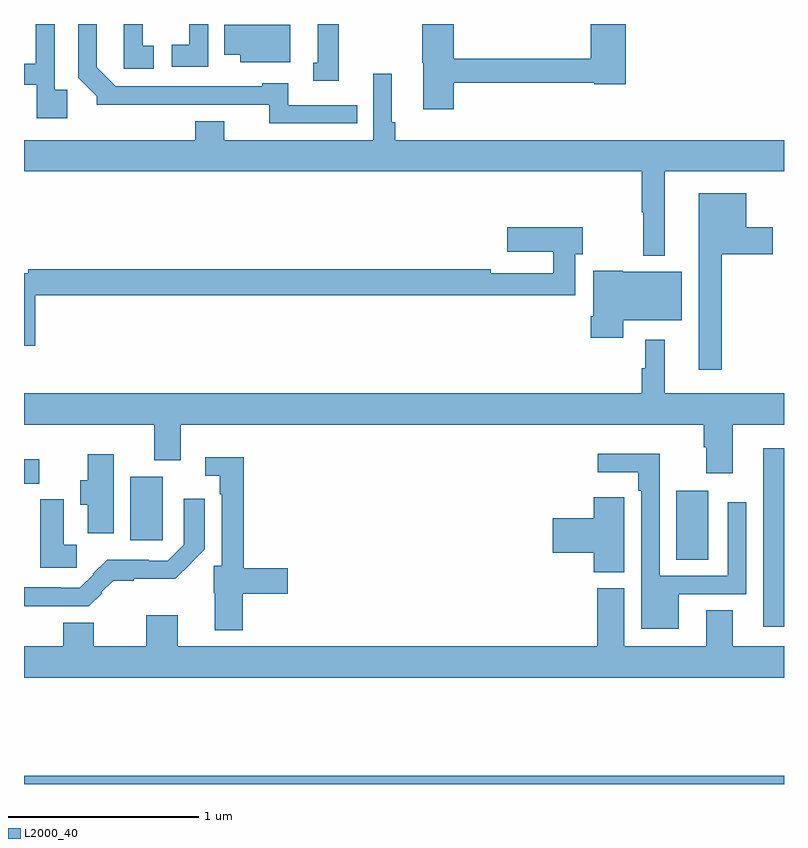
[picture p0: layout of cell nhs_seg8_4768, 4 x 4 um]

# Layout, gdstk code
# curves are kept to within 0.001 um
import gdstk
lib = gdstk.Library(unit=1e-6, precision=1e-09)
def R(c, l, rs):  # rectangles x0, y0, x1, y1
    for r in rs: c.add(gdstk.rectangle(r[:2], r[2:], *l))
def P(c, l, *ps):  # polygons
    for p in ps: c.add(gdstk.Polygon(p, *l))
L2000_40 = (2000, 40)

nhs_seg8_4768 = lib.new_cell('nhs_seg8_4768')
R(nhs_seg8_4768, L2000_40, [(399,1155.9,403,1155.944), (402.89,1156.728,403,1157.668), (402.434,1157.08,402.601,1157.443), (399.56,1157.184,399.73,1157.518), (399,1157.48,399.08,1157.608)])
P(nhs_seg8_4768, L2000_40, [(399.227,1159.555),(399.162,1159.555),(399.162,1159.9),(399.061,1159.9),(399.061,1159.69),(399,1159.69),(399,1159.581),(399.066,1159.581),(399.066,1159.404),(399.227,1159.404)],
  [(400.657,1159.9),(400.547,1159.9),(400.547,1159.695),(400.523,1159.695),(400.523,1159.601),(400.657,1159.601)],
  [(399.969,1159.9),(399.871,1159.9),(399.871,1159.79),(399.777,1159.79),(399.777,1159.674),(399.969,1159.674)],
  [(401.261,1159.59),(402,1159.59),(402,1159.582),(402.167,1159.582),(402.167,1159.9),(401.984,1159.9),(401.984,1159.718),(401.261,1159.718),(401.261,1159.9),(401.095,1159.9),(401.095,1159.695),(401.102,1159.695),(401.102,1159.452),(401.261,1159.452)],
  [(399.682,1159.785),(399.624,1159.785),(399.624,1159.9),(399.524,1159.9),(399.524,1159.665),(399.682,1159.665)],
  [(400.754,1159.473),(400.39,1159.473),(400.39,1159.588),(400.254,1159.588),(400.254,1159.572),(399.483,1159.572),(399.382,1159.673),(399.382,1159.9),(399.285,1159.9),(399.285,1159.618),(399.384,1159.519),(399.384,1159.475),(400.291,1159.476),(400.291,1159.377),(400.754,1159.377)],
  [(400.402,1159.897),(400.054,1159.897),(400.054,1159.739),(400.139,1159.739),(400.139,1159.7),(400.402,1159.7)],
  [(402.373,1159.124),(403,1159.124),(403,1159.288),(400.955,1159.288),(400.955,1159.384),(400.936,1159.384),(400.936,1159.639),(400.839,1159.639),(400.839,1159.288),(400.054,1159.288),(400.054,1159.387),(399.902,1159.387),(399.902,1159.288),(399,1159.288),(399,1159.124),(402.252,1159.124),(402.252,1158.908),(402.259,1158.908),(402.259,1158.68),(402.373,1158.68)],
  [(402.673,1158.689),(402.94,1158.689),(402.94,1158.831),(402.802,1158.831),(402.802,1159.009),(402.551,1159.009),(402.551,1158.081),(402.673,1158.081)],
  [(399.059,1158.472),(401.901,1158.472),(401.901,1158.689),(401.94,1158.689),(401.94,1158.831),(401.544,1158.831),(401.544,1158.701),(401.785,1158.701),(401.785,1158.588),(401.456,1158.588),(401.456,1158.608),(399.022,1158.608),(399.022,1158.588),(399,1158.588),(399,1158.207),(399.059,1158.207)],
  [(402.154,1158.341),(402.463,1158.341),(402.463,1158.595),(402.15,1158.595),(402.15,1158.601),(401.996,1158.601),(401.996,1158.361),(401.984,1158.361),(401.984,1158.249),(402.154,1158.249)],
  [(402.578,1157.672),(402.59,1157.672),(402.59,1157.535),(402.73,1157.535),(402.73,1157.792),(403,1157.792),(403,1157.956),(402.373,1157.956),(402.373,1158.238),(402.269,1158.238),(402.269,1158.089),(402.252,1158.089),(402.252,1157.956),(399,1157.956),(399,1157.792),(399.686,1157.792),(399.686,1157.603),(399.826,1157.603),(399.826,1157.792),(402.578,1157.792)],
  [(402.445,1156.899),(402.801,1156.899),(402.801,1157.383),(402.705,1157.383),(402.705,1156.995),(402.345,1156.995),(402.345,1157.638),(402.021,1157.638),(402.021,1157.54),(402.233,1157.54),(402.233,1157.444),(402.249,1157.444),(402.249,1156.718),(402.445,1156.718)],
  [(399.472,1157.635),(399.335,1157.635),(399.335,1157.499),(399.296,1157.499),(399.296,1157.369),(399.335,1157.369),(399.335,1157.22),(399.472,1157.22)],
  [(400.151,1156.901),(400.387,1156.901),(400.387,1157.036),(400.157,1157.036),(400.157,1157.62),(399.954,1157.62),(399.954,1157.523),(400.029,1157.523),(400.029,1157.426),(400.041,1157.426),(400.041,1157.048),(399.999,1157.048),(399.999,1156.905),(400.004,1156.905),(400.004,1156.709),(400.151,1156.709)],
  [(402.16,1157.297),(402.159,1157.297),(402.159,1157.41),(401.999,1157.41),(401.999,1157.3),(401.784,1157.3),(401.784,1157.117),(401.999,1157.117),(401.999,1157.014),(402.16,1157.014)],
  [(399.411,1156.905),(399.407,1156.909),(399.469,1156.971),(399.577,1156.971),(399.577,1156.979),(399.797,1156.979),(399.952,1157.136),(399.952,1157.401),(399.84,1157.401),(399.84,1157.16),(399.756,1157.076),(399.656,1157.076),(399.656,1157.081),(399.437,1157.081),(399.363,1157.007),(399.366,1157.004),(399.294,1156.932),(399.194,1156.932),(399.194,1156.936),(399,1156.936),(399,1156.835),(399.341,1156.835)],
  [(399.277,1157.158),(399.208,1157.158),(399.208,1157.399),(399.086,1157.399),(399.086,1157.038),(399.277,1157.038)],
  [(403,1156.624),(402.73,1156.624),(402.73,1156.814),(402.59,1156.814),(402.59,1156.624),(402.16,1156.624),(402.16,1156.929),(402.017,1156.929),(402.017,1156.624),(399.808,1156.624),(399.808,1156.789),(399.644,1156.789),(399.644,1156.624),(399.367,1156.624),(399.367,1156.75),(399.206,1156.75),(399.206,1156.624),(399,1156.624),(399,1156.46),(403,1156.46)])

lib.write_gds('nhs_seg8_4768.gds')
